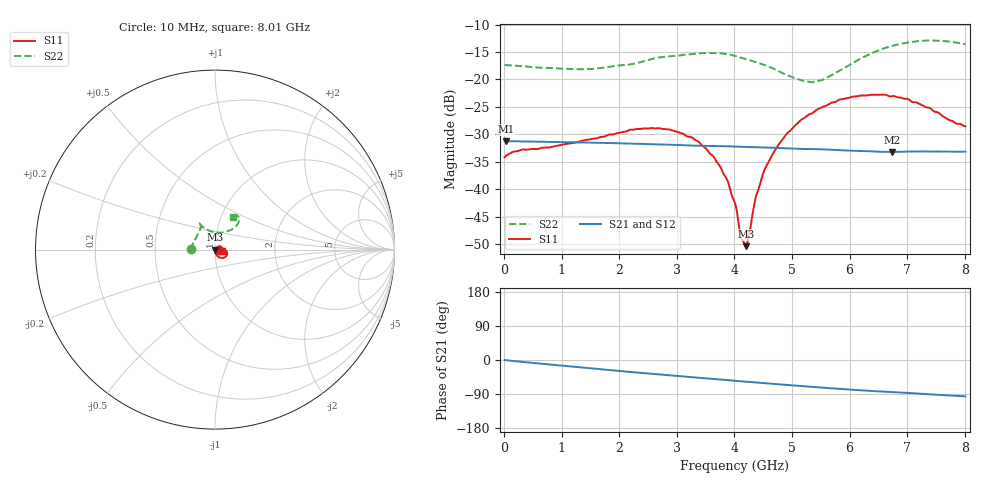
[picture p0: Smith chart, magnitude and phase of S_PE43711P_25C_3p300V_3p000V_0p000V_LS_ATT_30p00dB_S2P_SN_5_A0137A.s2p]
! Device ID: PE43711P
! File Path: z:\PE43711P\CHAR_NOM_04282014\AMB\3p300\LS_ATT_30p00dB\PE43711P_AMB_3p300V_3p000V_0p000V_LS_ATT_30p00dB_S2P_SN_5_A0137A.s2p
! Serial: 5
! Lot: A0137A
! Temp: 25C
! VDD: 3.300
! VSS: 0.000
! Control_Hi: 3.000
! Control_Lo: 0.000
! Attenuation Step: 30.00dB
! Port 1: RF1
! Port 2: RF2
! ThroughPath:1-2
! IDD: 0.0001278229
! ISS: -1.171e-007
#  Hz  S  RI  R  50
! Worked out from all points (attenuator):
!   801 points, 10 MHz to 8.01 GHz, reference 50 ohm
!   highest |S21| = -31.24 dB at 30 MHz (marker M1); lowest = -33.2 dB at 6.74 GHz (marker M2)
!   lowest |S11| = -50.3 dB at 4.2 GHz (marker M3), VSWR 1.01, Z = 50.3 - j0.125 ohm
!   |S11| at or under -10 dB: start of sweep to end of sweep
!   |S22| runs from -20.5 to -12.9 dB; largest |S21 - S12| = 9.7e-05
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1e7  0.0196 0.000547  0.0274 -9.13e-05  0.0274 -7.51e-05  -0.1358 0.000983
3e7  0.0201 0.000935  0.0274 -0.000221  0.0274 -0.000234  -0.1352 0.00215
1.35e9  0.0266 0.00714  0.0252 -0.00903  0.0252 -0.00902  -0.108 0.0606
2.2e9  0.0326 0.0125  0.0222 -0.0137  0.0222 -0.0137  -0.0839 0.1088
2.68e9  0.0319 0.0167  0.0202 -0.0157  0.0202 -0.0157  -0.0795 0.1368
3.1e9  0.0261 0.0187  0.0183 -0.0174  0.0183 -0.0174  -0.0789 0.1473
3.49e9  0.0173 0.0166  0.0166 -0.0185  0.0166 -0.0185  -0.0819 0.1534
3.76e9  0.0102 0.0122  0.0154 -0.0193  0.0154 -0.0193  -0.0846 0.1509
3.88e9  0.00751 0.00939  0.0148 -0.0197  0.0148 -0.0197  -0.0847 0.1471
4.01e9  0.00517 0.00541  0.0141 -0.0201  0.0141 -0.0201  -0.0833 0.1414
4.12e9  0.00339 0.00116  0.0135 -0.0203  0.0136 -0.0203  -0.0796 0.1359
4.2e9  0.00278 -0.00124  0.0131 -0.0205  0.0132 -0.0205  -0.0761 0.1328
4.25e9  0.00221 -0.00302  0.0129 -0.0205  0.0129 -0.0206  -0.0737 0.1312
4.38e9  0.00171 -0.00866  0.0123 -0.0208  0.0123 -0.0208  -0.0676 0.1266
4.55e9  0.00275 -0.0159  0.0114 -0.0211  0.0114 -0.0212  -0.0585 0.1201
4.9e9  0.0087 -0.0305  0.0097 -0.0215  0.00968 -0.0216  -0.0332 0.105
5.35e9  0.0242 -0.043  0.00763 -0.0219  0.00764 -0.022  0.0112 0.0939
5.85e9  0.0477 -0.0455  0.00527 -0.0221  0.00523 -0.0221  0.0681 0.1018
6.68e9  0.0673 -0.0214  0.00231 -0.0218  0.00237 -0.0218  0.1299 0.1496
6.74e9  0.0673 -0.0209  0.00215 -0.0218  0.00217 -0.0219  0.1319 0.1529
7.36e9  0.0553 -0.00446  -0.000131 -0.0221  -9.54e-05 -0.0221  0.1285 0.1863
8.01e9  0.0368 -0.0065  -0.00226 -0.0219  -0.0023 -0.0219  0.1006 0.1832
